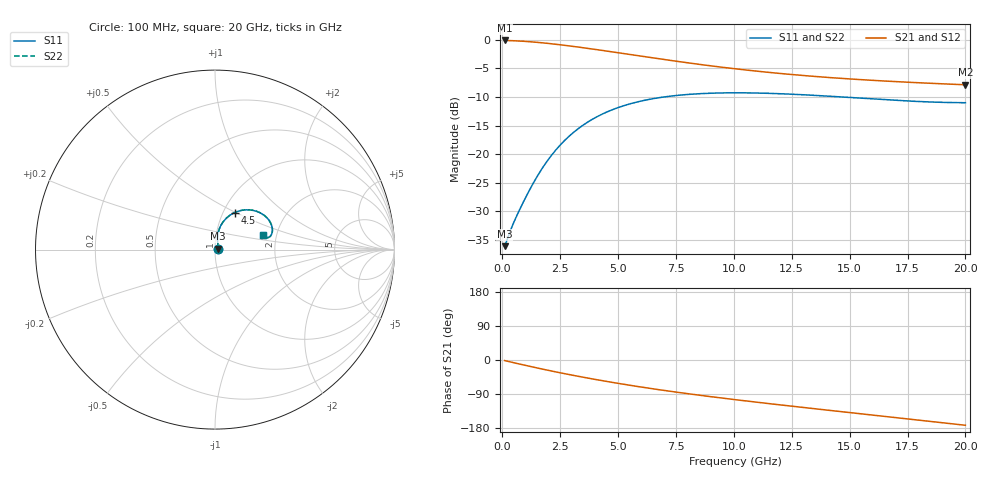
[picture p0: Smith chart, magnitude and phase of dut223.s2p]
! Touchstone file exported from HFSS 2024.1.0
!  File:  C:/UserFiles/LocalFiles/RDL_TSV_Batchsim/temp_RDL_TSV_223_1779449604.aedt
!  Generated:  07:49:12 PM May 22, 2026
!  Design:  RDL_TSV
!  Project:  temp_RDL_TSV_223_1779449604
!  Setup:  Setup1
!  Solution:  Sweep
! Variables:
!  dtsv = 6.29um
!  hbump = 3um
!  htsv = 56.55um
!  ldown = 208.12um
!  lrdl = 496.57um
!  p = 40
!  p1 = 54.65um
!  rhole = 10um
!  subl = 2610.64um
!  t = 450um
!  tdown = 4.33um
!  trdl = 2.48um
!  viad = 10um
!  wdown = 13.31um
!  wrdl = 28.98um
!  xbump = 18um
# GHz S MA R 50.000000
! Terminal data exported
! Port[1] = TM1_1_T1
! Port[2] = TM1_4_T1
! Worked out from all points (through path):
!   200 points, 100 MHz to 20 GHz, reference 50 ohm
!   highest |S21| = -0.13 dB at 100 MHz (marker M1); lowest = -7.9 dB at 20 GHz (marker M2)
!   group delay of S21, straight-line fit = 22.6 ps
!   lowest |S11| = -36.1 dB at 100 MHz (marker M3), VSWR 1.03, Z = 51.5 + j0.451 ohm
!   |S11| at or under -10 dB: start of sweep to 6.999 GHz; 14.61 GHz to end of sweep
!   |S22| runs from -36.1 to -9.3 dB; largest |S21 - S12| = 1e-14
!   S11 on the Smith chart (normalised r, x): 100 MHz: 1.03, +0.01; 4.5 GHz: 1.13, +0.49; 20 GHz: 1.70, +0.30
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0.1  0.0157 16.2  0.9847 -1.5  0.9847 -1.5  0.0157 16.2
! Gamma 0 0 0 0
! Port Impedance 50 0 50 0
0.4  0.02277 44.3  0.9805 -5.8  0.9805 -5.8  0.02276 44.4
0.8  0.0344 62.6  0.9718 -11.4  0.9718 -11.4  0.0344 62.6
1.3  0.05405 74.8  0.9562 -18.3  0.9562 -18.3  0.05406 74.8
1.7  0.07385 78.6  0.9404 -23.6  0.9404 -23.6  0.07388 78.7
2.1  0.09621 79.3  0.9224 -28.8  0.9224 -28.8  0.09627 79.4
2.5  0.12 78.1  0.9028 -33.8  0.9028 -33.8  0.1201 78.1
3  0.1503 75.0  0.877 -39.8  0.877 -39.8  0.1505 75.0
3.5  0.1798 71.0  0.8503 -45.6  0.8503 -45.6  0.18 71.0
4  0.2075 66.6  0.8232 -51.1  0.8232 -51.1  0.2078 66.7
4.5  0.2327 62.1  0.7961 -56.5  0.7961 -56.5  0.233 62.2
5.6  0.2781 52.7  0.7382 -67.6  0.7382 -67.6  0.2785 52.7
6.8  0.312 43.5  0.6799 -78.7  0.6799 -78.7  0.3125 43.5
7.6  0.3268 38.1  0.6447 -85.5  0.6447 -85.5  0.3273 38.2
8.4  0.3363 33.4  0.6128 -92.1  0.6128 -92.1  0.3368 33.4
10.1  0.3435 25.2  0.5556 -105.0  0.5556 -105.0  0.344 25.2
11.7  0.3389 19.4  0.5136 -116.4  0.5136 -116.4  0.3395 19.5
13.4  0.327 15.3  0.4791 -128.0  0.4791 -128.0  0.3276 15.4
15  0.3127 13.2  0.454 -138.7  0.454 -138.7  0.3133 13.2
16.7  0.2975 12.8  0.4332 -150.0  0.4332 -150.0  0.2981 12.8
18.4  0.286 14.2  0.4167 -161.4  0.4167 -161.4  0.2865 14.2
20  0.2814 16.7  0.4037 -172.2  0.4037 -172.2  0.2819 16.7
